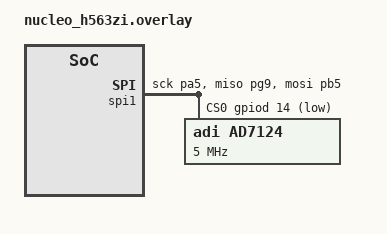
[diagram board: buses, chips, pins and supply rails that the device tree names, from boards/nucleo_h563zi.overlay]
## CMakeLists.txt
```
cmake_minimum_required(VERSION 3.20.0)

find_package(Zephyr REQUIRED HINTS $ENV{ZEPHYR_BASE})

project(app LANGUAGES C)

target_sources(app PRIVATE src/main.c src/mqtt_interface.c)
```

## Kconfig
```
# Copyright (c) 2021 Nordic Semiconductor ASA
# SPDX-License-Identifier: Apache-2.0
#
# This file is the application Kconfig entry point. All application Kconfig
# options can be defined here or included via other application Kconfig files.
# You can browse these options using the west targets menuconfig (terminal) or
# guiconfig (GUI).

# Source workspace libraries
osource "$(ZEPHYR_BASE)/../zephyr-hispec-mtc/lib/Kconfig"

menu "Zephyr"
source "Kconfig.zephyr"
endmenu

module = APP
module-str = APP
source "subsys/logging/Kconfig.template.log_config"
```

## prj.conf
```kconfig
# Logging
CONFIG_LOG=y
CONFIG_LOG_DEFAULT_LEVEL=3

# Enable floating-point printf support
CONFIG_CBPRINTF_FP_SUPPORT=y

# SPI support
CONFIG_SPI=y

# GPIO support
CONFIG_GPIO=y

# heater_manager calls the regulator API unconditionally; required to link
CONFIG_I2C=y
CONFIG_REGULATOR=y
CONFIG_REGULATOR_TPS55287Q1=y

# ADC for sensor reads
CONFIG_ADC=y

# Managers + command table
CONFIG_COO_CONFIG_LIB=y
CONFIG_COO_SENSORS_LIB=y
CONFIG_COO_HEATERS_LIB=y
CONFIG_COO_CONTROL_LIB=y
CONFIG_COO_COMMANDS_LIB=y

# Networking + MQTT command/telemetry interface
CONFIG_NETWORKING=y
CONFIG_NET_IPV4=y
CONFIG_NET_TCP=y
CONFIG_NET_SOCKETS=y
CONFIG_NET_L2_ETHERNET=y
CONFIG_ETH_STM32_HAL=y
CONFIG_NET_DHCPV4=y
CONFIG_MAIN_STACK_SIZE=4096

CONFIG_COO_COMMONS=y
CONFIG_MQTT_LIB=y
CONFIG_COO_MQTT=y
CONFIG_MQTT_VERSION_5_0=y
CONFIG_COO_JSON=y
CONFIG_JSON_LIBRARY=y
CONFIG_JSON_LIBRARY_FP_SUPPORT=y

# Console subsystem for the dispatcher's serial command duals
CONFIG_SERIAL=y
CONFIG_CONSOLE=y
CONFIG_UART_CONSOLE=y
CONFIG_CONSOLE_SUBSYS=y
CONFIG_CONSOLE_GETCHAR=y

# NVS-backed settings persistence
CONFIG_FLASH=y
CONFIG_FLASH_MAP=y
CONFIG_NVS=y
CONFIG_MPU_ALLOW_FLASH_WRITE=y

# Broker: set to the LAN IP of the host running mosquitto
CONFIG_COO_MQTT_BROKER_HOSTNAME="192.168.2.1"
CONFIG_COO_MQTT_BROKER_PORT="1884"
```

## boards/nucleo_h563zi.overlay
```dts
/*
 * Devicetree overlay for NUCLEO-H563ZI:
 * - AD7124 ADC on SPI1
 */

&spi1 {
    status = "okay";
    pinctrl-0 = <&spi1_sck_pa5 &spi1_miso_pg9 &spi1_mosi_pb5>;
    pinctrl-names = "default";
    cs-gpios = <&gpiod 14 GPIO_ACTIVE_LOW>;

    ad7124: ad7124@0 {
        compatible = "adi,ad7124";
        reg = <0>;
        spi-max-frequency = <5000000>;  /* 5 MHz max for AD7124 */
    };
};
```

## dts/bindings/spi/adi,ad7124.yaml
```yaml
description: Analog Devices AD7124 24-bit Sigma-Delta ADC
compatible: "adi,ad7124"
include: [spi-device.yaml]
```

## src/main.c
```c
/**
 * @file main.c
 * @brief Thermal controller main application
 *
 * Modular multi-heater, multi-sensor thermal controller with PID loops
 */

#include <string.h>

#include <zephyr/kernel.h>
#include <zephyr/drivers/adc.h>
#include <zephyr/logging/log.h>

/* Application modules */
#include "../../lib/config/config.h"
#include "../../lib/sensors/sensor_manager.h"
#include "../../lib/heaters/heater_manager.h"
#include "../../lib/control/control_loop.h"
#include "mqtt_interface.h"

/* Two Penguin PT1000s, 4-wire ratiometric; see demo/penguin_rtd for the wiring.
 * Named sensor-1/sensor-2 to match the default control loops (prototype). */
static const struct adc_dt_spec penguin_spec[] = {
	ADC_DT_SPEC_GET_BY_IDX(DT_ALIAS(penguins), 0),
	ADC_DT_SPEC_GET_BY_IDX(DT_ALIAS(penguins), 1),
};

static void configure_penguins(thermal_config_t *config)
{
	static const char *const ids[] = { "sensor-1", "sensor-2" };

	config->number_of_sensors = 2;
	for (int i = 0; i < 2; i++) {
		sensor_config_t *s = &config->sensors[i];

		strncpy(s->id, ids[i], MAX_ID_LENGTH - 1);
		s->type = SENSOR_TYPE_P_RTD;
		s->nominal_resistance = 1000.0f;
		s->temperature_coefficient = 3850.0f;
		s->reference_resistance = 10200.0f;   /* 2 * R1; both IOUT share it */
		s->adc_gain = 1;
		s->adc_resolution = 24;
		s->driver_data = &penguin_spec[i];
		s->enabled = true;
	}
}

LOG_MODULE_REGISTER(main_app, LOG_LEVEL_INF);

/* Thread stacks */
#define SENSOR_STACK_SIZE 2048
#define CONTROL_STACK_SIZE 4096
#define SUPERVISOR_STACK_SIZE 2048

K_THREAD_STACK_DEFINE(sensor_stack, SENSOR_STACK_SIZE);
K_THREAD_STACK_DEFINE(control_stack, CONTROL_STACK_SIZE);

struct k_thread sensor_thread;
struct k_thread control_thread;

/* Global configuration */
static thermal_config_t *g_config = NULL;

/* Thread synchronization */
static bool system_running = true;
static bool alarm_triggered = false;

/* ========== Sensor Thread ========== */

void sensor_thread_entry(void *p1, void *p2, void *p3)
{
    ARG_UNUSED(p1);
    ARG_UNUSED(p2);
    ARG_UNUSED(p3);

    LOG_INF("Sensor thread started (period: 500ms)");

    while (system_running) {
        int ret = sensor_manager_read_all();
        if (ret != 0) {
            LOG_WRN("Sensor read errors: %d", -ret);
        }

        k_sleep(K_MSEC(500));  /* 2 Hz - matches control loop */
    }

    LOG_INF("Sensor thread exiting");
}

/* ========== Control Thread ========== */

void control_thread_entry(void *p1, void *p2, void *p3)
{
    ARG_UNUSED(p1);
    ARG_UNUSED(p2);
    ARG_UNUSED(p3);

    LOG_INF("Control thread started (period: 500ms)");

    const float dt = 0.5f;  /* 500ms = 0.5 seconds */

    while (system_running) {
        if (!alarm_triggered) {
            int ret = control_loop_update_all(dt);
            if (ret != 0) {
                LOG_WRN("Control loop errors: %d", -ret);
            }
        } else {
            /* In alarm state, keep loops suspended */
            LOG_DBG("Control loops suspended due to alarm");
        }

        k_sleep(K_MSEC(500));  /* 2 Hz */
    }

    LOG_INF("Control thread exiting");
}

/* ========== Helper Functions ========== */

/**
 * Monitor system health and handle alarms
 */
static void monitor_system_health(void)
{
    /* Check all control loops for alarm conditions */
    for (int i = 0; i < g_config->number_of_control_loops; i++) {
        if (!g_config->control_loops[i].enabled) {
            continue;
        }

        loop_status_t status = control_loop_get_status(g_config->control_loops[i].id);

        if (status == LOOP_STATUS_ALARM && !alarm_triggered) {
            LOG_ERR("ALARM: Loop %s in alarm state!", g_config->control_loops[i].id);
            alarm_triggered = true;

            /* Handle based on error_condition */
            if (g_config->control_loops[i].error_condition == ERROR_CONDITION_STOP) {
                LOG_ERR("EMERGENCY STOP triggered");
                heater_manager_emergency_stop();
                control_loop_suspend_all();
            }
        }
    }

    /* TODO: Add watchdog timer monitoring */
    /* TODO: Add timeout handling */
}

/**
 * Handle mode changes (future implementation)
 */
static void handle_mode_changes(void)
{
    /* TODO: Implement mode switching (auto/manual/off) */
}

/* ========== Main Entry Point ========== */

int main(void)
{
    LOG_INF("====================================");
    LOG_INF("  Thermal Controller v1.0");
    LOG_INF("====================================");

    /* ========== 1. Load Configuration ========== */
    g_config = config_load_defaults();
    if (g_config == NULL) {
        LOG_ERR("Failed to load configuration");
        return -1;
    }

    configure_penguins(g_config);

    LOG_INF("Configuration loaded:");
    LOG_INF("  Controller ID: %s", g_config->id);
    LOG_INF("  Sensors: %d", g_config->number_of_sensors);
    LOG_INF("  Heaters: %d", g_config->number_of_heaters);
    LOG_INF("  Control Loops: %d", g_config->number_of_control_loops);

    /* ========== 2. Validate Configuration ========== */
    int ret = config_validate(g_config);
    if (ret != 0) {
        LOG_ERR("Configuration validation failed: %d", ret);
        return ret;
    }

    LOG_INF("Configuration validated successfully");

    /* ========== 3. Initialize Hardware Subsystems ========== */

    LOG_INF("Initializing sensor manager...");
    ret = sensor_manager_init(g_config);
    if (ret != 0) {
        LOG_ERR("Sensor manager initialization failed: %d", ret);
        return ret;
    }

    LOG_INF("Initializing heater manager...");
    ret = heater_manager_init(g_config);
    if (ret != 0) {
        LOG_ERR("Heater manager initialization failed: %d", ret);
        return ret;
    }

    /* ========== 4. Initialize Control Loops ========== */

    LOG_INF("Initializing control loops...");
    ret = control_loop_init(g_config);
    if (ret != 0) {
        LOG_ERR("Control loop initialization failed: %d", ret);
        return ret;
    }

    /* ========== 5. Create Worker Threads ========== */

    LOG_INF("Creating worker threads...");

    k_thread_create(&sensor_thread, sensor_stack,
                    K_THREAD_STACK_SIZEOF(sensor_stack),
                    sensor_thread_entry, NULL, NULL, NULL,
                    5,  /* Priority 5 (high) */
                    0, K_NO_WAIT);

    k_thread_name_set(&sensor_thread, "sensor");

    k_thread_create(&control_thread, control_stack,
                    K_THREAD_STACK_SIZEOF(control_stack),
                    control_thread_entry, NULL, NULL, NULL,
                    7,  /* Priority 7 (medium) */
                    0, K_NO_WAIT);

    k_thread_name_set(&control_thread, "control");

    LOG_INF("All threads started");

    /* ========== 6. Optional: Network and Telemetry ========== */

#ifdef CONFIG_COO_COMMANDS_LIB
    LOG_INF("Starting MQTT command interface...");
    mqtt_interface_start();
#endif

    /* ========== 7. Supervisor Loop ========== */

    LOG_INF("====================================");
    LOG_INF("System initialized - entering supervisor loop");
    LOG_INF("====================================");

    while (system_running) {
        /* Monitor system health */
        monitor_system_health();

        /* Handle mode changes */
        handle_mode_changes();

        /* Sleep 100ms */
        k_sleep(K_MSEC(100));
    }

    /* ========== 8. Cleanup on Exit ========== */

    LOG_INF("Shutting down system...");

    /* Stop all heaters */
    heater_manager_emergency_stop();

    /* Wait for threads to exit */
    k_thread_join(&sensor_thread, K_FOREVER);
    k_thread_join(&control_thread, K_FOREVER);

    LOG_INF("System shutdown complete");
    return 0;
}
```

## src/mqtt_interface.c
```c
/* MQTT command + telemetry interface: the coo_commons dispatcher bound to the
 * thermal command table over a live broker, plus periodic per-loop telemetry. */

#include <string.h>
#include <stdlib.h>

#include <zephyr/kernel.h>
#include <zephyr/logging/log.h>
#include <zephyr/net/net_if.h>
#include <zephyr/net/dhcpv4.h>

#include <control_loop.h>
#include <thermal_commands.h>
#include <coo_commons/mqtt_client.h>
#include <coo_commons/command_dispatch.h>

#include "mqtt_interface.h"

LOG_MODULE_REGISTER(mqtt_interface, LOG_LEVEL_INF);

#define DEVICE_ID            "hstempctrl"
#define MAX_PENDING_COMMANDS 8
#define TELEMETRY_PERIOD_MS  2000
#define EXEC_STACK_SIZE      4096
#define MQTT_STACK_SIZE      4096

K_MSGQ_DEFINE(inbound_queue, sizeof(struct coo_cmd_request), MAX_PENDING_COMMANDS, 4);
K_MSGQ_DEFINE(outbound_queue, sizeof(struct coo_cmd_response), 8, 4);

static struct coo_cmd_runtime runtime;
static struct mqtt_client client;
static uint16_t mqtt_msg_id = 1;

static K_THREAD_STACK_DEFINE(exec_stack, EXEC_STACK_SIZE);
static K_THREAD_STACK_DEFINE(mqtt_stack, MQTT_STACK_SIZE);
static struct k_thread exec_thread;
static struct k_thread mqtt_thread;

static void wait_for_network(void)
{
	struct net_if *iface = net_if_get_default();

	while (!net_if_is_up(iface)) {
		k_msleep(100);
	}
	LOG_INF("Network interface up");

	net_dhcpv4_start(iface);
	while (true) {
		struct net_if_ipv4 *ipv4 = iface->config.ip.ipv4;

		if (ipv4 && ipv4->unicast[0].ipv4.is_used) {
			char addr[NET_IPV4_ADDR_LEN];

			net_addr_ntop(AF_INET, &ipv4->unicast[0].ipv4.address.in_addr,
				      addr, sizeof(addr));
			LOG_INF("Got IP: %s", addr);
			return;
		}
		k_msleep(500);
	}
}

static void publish_telemetry(void)
{
	int count = control_loop_get_count();

	for (int i = 0; i < count; i++) {
		const char *id = control_loop_get_id_at(i);
		float target_k = 0.0f;
		float temp_k = 0.0f;
		bool enabled = false;
		struct coo_cmd_response out = {0};
		char suffix[COO_CMD_TOPIC_MAX];

		control_loop_get_target(id, &target_k);
		control_loop_get_temperature(id, &temp_k);
		control_loop_get_enabled(id, &enabled);
		loop_status_t status = control_loop_get_status(id);

		snprintk(suffix, sizeof(suffix), "loop/%s/telemetry", id);
		out.payload_len = snprintk(
			out.payload, sizeof(out.payload),
			"{\"loop_id\":\"%s\",\"temperature\":%.2f,\"setpoint\":%.2f,\"enabled\":%s,\"status\":%d}",
			id, (double)(temp_k - 273.15f), (double)(target_k - 273.15f),
			enabled ? "true" : "false", (int)status);

		const struct coo_cmd_runtime_emit_args args = {
			.type = COO_CMD_RUNTIME_EMIT_DATA,
			.delivery = COO_CMD_RUNTIME_EMIT_BEST_EFFORT,
			.suffix = suffix,
			.out = &out,
		};
		coo_cmd_runtime_emit(&runtime, &args);
	}
}

static void mqtt_thread_entry(void *p1, void *p2, void *p3)
{
	ARG_UNUSED(p1);
	ARG_UNUSED(p2);
	ARG_UNUSED(p3);

	wait_for_network();

	if (coo_mqtt_init(&client, DEVICE_ID) != 0) {
		LOG_ERR("MQTT init failed");
		return;
	}

	struct coo_mqtt_broker_config broker = {0};

	strncpy(broker.host, CONFIG_COO_MQTT_BROKER_HOSTNAME, sizeof(broker.host) - 1);
	broker.port = (uint16_t)atoi(CONFIG_COO_MQTT_BROKER_PORT);
	if (coo_mqtt_set_broker_config(&broker) != 0) {
		LOG_ERR("broker config invalid: %s:%u", broker.host, broker.port);
		return;
	}
	LOG_INF("Broker %s:%u", broker.host, broker.port);

	coo_mqtt_set_message_callback(coo_cmd_runtime_mqtt_callback, &runtime);

	char subscription[COO_CMD_TOPIC_MAX];

	snprintk(subscription, sizeof(subscription), "%s#", runtime.request_prefix);
	coo_mqtt_add_subscription(subscription, MQTT_QOS_1_AT_LEAST_ONCE);
	LOG_INF("Subscribing to %s", subscription);

	bool subscribed = false;
	int64_t next_telemetry = 0;

	while (true) {
		coo_cmd_runtime_serial_poll(&runtime);

		if (!coo_mqtt_is_connected()) {
			subscribed = false;
			if (coo_mqtt_connect(&client) != 0) {
				k_msleep(2000);
				continue;
			}
		}
		if (!subscribed) {
			coo_mqtt_subscribe(&client);
			subscribed = true;
		}

		if (k_uptime_get() >= next_telemetry) {
			publish_telemetry();
			next_telemetry = k_uptime_get() + TELEMETRY_PERIOD_MS;
		}

		coo_cmd_runtime_drain_outbound(&runtime, &client, coo_mqtt_is_connected());
		coo_mqtt_process(&client);
		k_msleep(20);
	}
}

void mqtt_interface_start(void)
{
	size_t spec_count;
	const struct coo_cmd_spec *specs = thermal_commands_specs(&spec_count);
	const struct coo_cmd_runtime_config cfg = {
		.device_id = DEVICE_ID,
		.inbound_queue = &inbound_queue,
		.outbound_queue = &outbound_queue,
		.mqtt_msg_id = &mqtt_msg_id,
		.serial_wrap_column = COO_CMD_SERIAL_WRAP_COLUMN,
		.command_specs = specs,
		.command_spec_count = spec_count,
	};

	if (coo_cmd_runtime_configure(&runtime, &cfg) != 0) {
		LOG_ERR("runtime configure failed");
		return;
	}

	k_thread_create(&exec_thread, exec_stack, K_THREAD_STACK_SIZEOF(exec_stack),
			coo_cmd_runtime_executor_thread, &runtime, NULL, NULL,
			8, 0, K_NO_WAIT);
	k_thread_name_set(&exec_thread, "cmd_exec");

	k_thread_create(&mqtt_thread, mqtt_stack, K_THREAD_STACK_SIZEOF(mqtt_stack),
			mqtt_thread_entry, NULL, NULL, NULL,
			8, 0, K_NO_WAIT);
	k_thread_name_set(&mqtt_thread, "mqtt");
}
```

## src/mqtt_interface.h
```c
/* MQTT command and telemetry interface for the thermal controller app.
 * Runs the coo_commons dispatcher over MQTT in its own threads. */

#ifndef MQTT_INTERFACE_H
#define MQTT_INTERFACE_H

/* Start the network/MQTT command runtime and telemetry publisher.
 * Call after the sensor/heater/control managers are initialized. */
void mqtt_interface_start(void);

#endif /* MQTT_INTERFACE_H */
```
